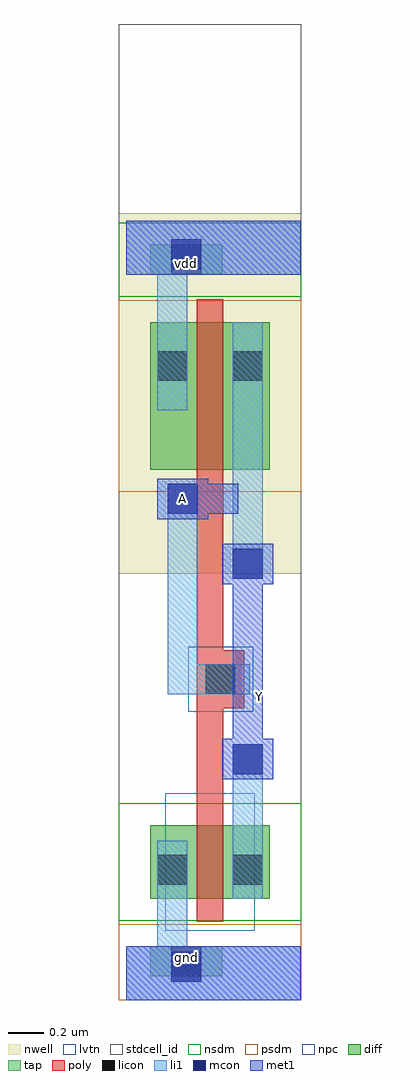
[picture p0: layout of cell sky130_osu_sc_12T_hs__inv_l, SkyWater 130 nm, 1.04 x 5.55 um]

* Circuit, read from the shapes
.subckt sky130_osu_sc_12T_hs__inv_l A Y gnd vdd
XM1 Y A gnd gnd sky130_fd_pr__nfet_01v8_lvt w=0.42 l=0.15
XM2 Y A vdd vdd sky130_fd_pr__pfet_01v8 w=0.84 l=0.15
.ends

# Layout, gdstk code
import gdstk
lib = gdstk.Library(unit=1e-6, precision=1e-09)
def R(c, l, rs):  # rectangles x0, y0, x1, y1
    for r in rs: c.add(gdstk.rectangle(r[:2], r[2:], *l))
nwell = (64, 20)
diff = (65, 20)
tap = (65, 44)
poly = (66, 20)
licon = (66, 44)
li1 = (67, 20)
mcon = (67, 44)
met1 = (68, 20)
stdcell_id = (81, 4)
nsdm = (93, 44)
psdm = (94, 20)
npc = (95, 20)
lvtn = (125, 44)

sky130_osu_sc_12t_hs__in = lib.new_cell('sky130_osu_sc_12T_hs__inv_l')
R(sky130_osu_sc_12t_hs__in, nwell, [(-0.045,2.425,0.995,4.475)])
R(sky130_osu_sc_12t_hs__in, diff, [(0.135,0.575,0.815,0.995), (0.135,3.015,0.815,3.855)])
R(sky130_osu_sc_12t_hs__in, tap, [(0.135,0.135,0.545,0.305), (0.135,4.125,0.545,4.295)])
R(sky130_osu_sc_12t_hs__in, poly, [(0.4,0.445,0.55,1.66), (0.4,1.66,0.67,1.99), (0.4,1.99,0.55,3.985)])
R(sky130_osu_sc_12t_hs__in, licon, [(0.255,0.135,0.425,0.305), (0.175,0.655,0.345,0.825), (0.605,0.655,0.775,0.825), (0.45,1.74,0.62,1.91), (0.175,3.52,0.345,3.69), (0.605,3.52,0.775,3.69), (0.255,4.125,0.425,4.295)])
R(sky130_osu_sc_12t_hs__in, li1, [(0,0,0.99,0.305), (0.175,0.305,0.345,0.905), (0.605,0.575,0.775,1.455), (0.235,1.74,0.7,1.91), (0.235,1.91,0.405,2.935), (0.605,2.395,0.775,3.855), (0.175,3.355,0.345,4.125), (0,4.125,0.99,4.43)])
R(sky130_osu_sc_12t_hs__in, mcon, [(0.255,0.105,0.425,0.275), (0.605,1.285,0.775,1.455), (0.605,2.395,0.775,2.565), (0.235,2.765,0.405,2.935), (0.255,4.155,0.425,4.325)])
R(sky130_osu_sc_12t_hs__in, met1, [(0,0,0.99,0.305), (0.545,1.255,0.835,1.485), (0.605,1.485,0.775,2.365), (0.545,2.365,0.835,2.595), (0.175,2.735,0.465,2.765), (0.175,2.765,0.635,2.935), (0.175,2.935,0.465,2.965), (0,4.125,0.99,4.43)])
R(sky130_osu_sc_12t_hs__in, stdcell_id, [(-0.045,0,0.995,5.55)])
R(sky130_osu_sc_12t_hs__in, nsdm, [(-0.045,0.45,0.995,1.12), (-0.045,4,0.995,4.42)])
R(sky130_osu_sc_12t_hs__in, psdm, [(-0.045,0,0.995,0.43), (-0.045,2.89,0.995,3.98)])
R(sky130_osu_sc_12t_hs__in, npc, [(0.35,1.64,0.72,2.01)])
R(sky130_osu_sc_12t_hs__in, lvtn, [(0.22,0.395,0.73,1.175)])
sky130_osu_sc_12t_hs__in.add(gdstk.Label('gnd', (0.34,0.24), layer=68, texttype=16))
sky130_osu_sc_12t_hs__in.add(gdstk.Label('vdd', (0.34,4.19), layer=68, texttype=16))
sky130_osu_sc_12t_hs__in.add(gdstk.Label('A', (0.32,2.85), layer=68, texttype=5))
sky130_osu_sc_12t_hs__in.add(gdstk.Label('Y', (0.755,1.725), layer=68, texttype=5))

lib.write_gds('sky130_osu_sc_12T_hs__inv_l.gds')
